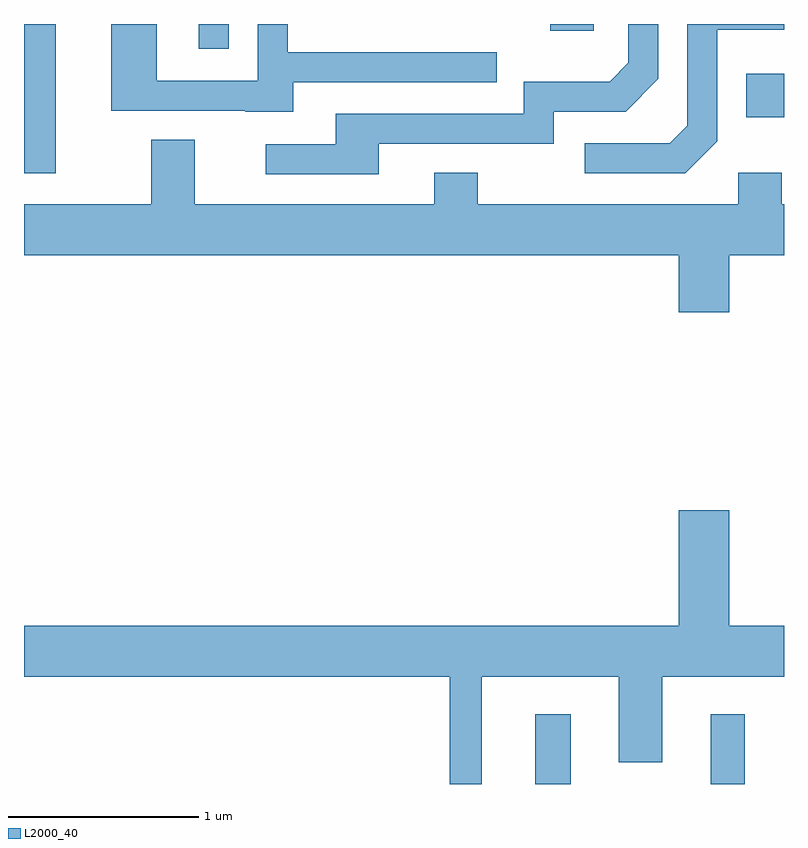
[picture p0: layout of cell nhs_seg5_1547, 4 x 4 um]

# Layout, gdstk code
import gdstk
lib = gdstk.Library(unit=1e-6, precision=1e-09)
def R(c, l, rs):  # rectangles x0, y0, x1, y1
    for r in rs: c.add(gdstk.rectangle(r[:2], r[2:], *l))
def P(c, l, *ps):  # polygons
    for p in ps: c.add(gdstk.Polygon(p, *l))
L2000_40 = (2000, 40)

nhs_seg5_1547 = lib.new_cell('nhs_seg5_1547')
R(nhs_seg5_1547, L2000_40, [(234.301,1394.072,234.489,1394.439), (235.226,1394.072,235.404,1394.439), (231.611,1397.286,231.779,1398.072), (235.411,1397.581,235.611,1397.809), (232.531,1397.943,232.689,1398.072), (234.381,1398.036,234.609,1398.072)])
P(nhs_seg5_1547, L2000_40, [(233.479,1397.441),(234.399,1397.441),(234.399,1397.611),(234.777,1397.611),(234.949,1397.784),(234.949,1398.072),(234.791,1398.072),(234.791,1397.867),(234.694,1397.769),(234.241,1397.769),(234.241,1397.599),(233.251,1397.599),(233.251,1397.439),(232.883,1397.439),(232.883,1397.281),(233.479,1397.281)],
  [(233.029,1397.766),(234.098,1397.766),(234.098,1397.924),(232.999,1397.924),(232.999,1398.072),(232.841,1398.072),(232.841,1397.774),(232.309,1397.774),(232.309,1398.072),(232.071,1398.072),(232.071,1397.616),(232.775,1397.616),(232.775,1397.611),(233.029,1397.611)],
  [(235.259,1397.454),(235.259,1398.041),(235.611,1398.041),(235.611,1398.072),(235.101,1398.072),(235.101,1397.537),(235.009,1397.444),(234.563,1397.444),(234.563,1397.286),(235.092,1397.286)],
  [(235.324,1396.856),(235.611,1396.856),(235.611,1397.124),(235.599,1397.124),(235.599,1397.289),(235.371,1397.289),(235.371,1397.124),(233.999,1397.124),(233.999,1397.289),(233.771,1397.289),(233.771,1397.124),(232.509,1397.124),(232.509,1397.464),(232.281,1397.464),(232.281,1397.124),(231.611,1397.124),(231.611,1396.856),(235.056,1396.856),(235.056,1396.556),(235.324,1396.556)],
  [(234.019,1394.636),(234.741,1394.636),(234.741,1394.186),(234.969,1394.186),(234.969,1394.636),(235.611,1394.636),(235.611,1394.904),(235.324,1394.904),(235.324,1395.514),(235.056,1395.514),(235.056,1394.904),(231.611,1394.904),(231.611,1394.636),(233.851,1394.636),(233.851,1394.072),(234.019,1394.072)])

lib.write_gds('nhs_seg5_1547.gds')
